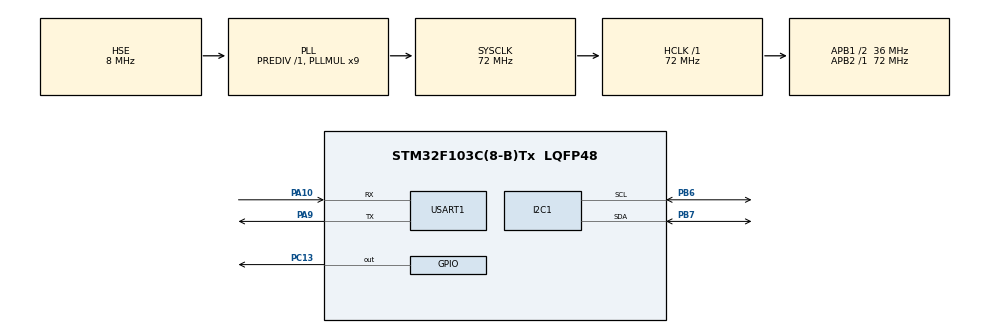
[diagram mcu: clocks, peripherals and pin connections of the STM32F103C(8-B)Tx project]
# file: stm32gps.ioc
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Dma.Request0=USART1_RX
Dma.USART1_RX.0.Direction=DMA_PERIPH_TO_MEMORY
Dma.USART1_RX.0.Instance=DMA1_Channel5
Dma.USART1_RX.0.MemDataAlignment=DMA_MDATAALIGN_BYTE
Dma.USART1_RX.0.MemInc=DMA_MINC_ENABLE
Dma.USART1_RX.0.Mode=DMA_NORMAL
Dma.USART1_RX.0.PeriphDataAlignment=DMA_PDATAALIGN_BYTE
Dma.USART1_RX.0.PeriphInc=DMA_PINC_DISABLE
Dma.USART1_RX.0.Priority=DMA_PRIORITY_LOW
I2C1.I2C_Mode=I2C_Standard
Mcu.Family=STM32F1
Mcu.Name=STM32F103C(8-B)Tx
Mcu.Package=LQFP48
NVIC.DMA1_Channel5_IRQn=true\:0\:0\:false\:false\:true\:false\:true\:true
NVIC.PriorityGroup=NVIC_PRIORITYGROUP_4
NVIC.USART1_IRQn=true\:0\:0\:false\:false\:true\:true\:true\:true
PA10.Mode=Asynchronous
PA10.Signal=USART1_RX
PA13.Mode=Serial_Wire
PA13.Signal=SYS_JTMS-SWDIO
PA14.Mode=Serial_Wire
PA14.Signal=SYS_JTCK-SWCLK
PA9.Mode=Asynchronous
PA9.Signal=USART1_TX
PB6.Mode=I2C
PB6.Signal=I2C1_SCL
PB7.Mode=I2C
PB7.Signal=I2C1_SDA
PC13-TAMPER-RTC.Signal=GPIO_Output
PD0-OSC_IN.Mode=HSE-External-Oscillator
PD0-OSC_IN.Signal=RCC_OSC_IN
PD1-OSC_OUT.Mode=HSE-External-Oscillator
PD1-OSC_OUT.Signal=RCC_OSC_OUT
ProjectManager.HeapSize=0x200
ProjectManager.StackSize=0x400
ProjectManager.TargetToolchain=CMake
RCC.AHBFreq_Value=72000000
RCC.APB1CLKDivider=RCC_HCLK_DIV2
RCC.APB1Freq_Value=36000000
RCC.APB1TimFreq_Value=72000000
RCC.APB2Freq_Value=72000000
RCC.APB2TimFreq_Value=72000000
RCC.HCLKFreq_Value=72000000
RCC.PLLMUL=RCC_PLL_MUL9
RCC.PLLSourceVirtual=RCC_PLLSOURCE_HSE
RCC.SYSCLKFreq_VALUE=72000000
RCC.SYSCLKSource=RCC_SYSCLKSOURCE_PLLCLK
RCC.USBFreq_Value=72000000
USART1.VirtualMode=VM_ASYNC
board=custom

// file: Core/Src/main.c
/* USER CODE BEGIN Header */
/**
  ******************************************************************************
  * @file           : main.c
  * @brief          : Main program body
  ******************************************************************************
  * @attention
  *
  * Copyright (c) 2025 STMicroelectronics.
  * All rights reserved.
  *
  * This software is licensed under terms that can be found in the LICENSE file
  * in the root directory of this software component.
  * If no LICENSE file comes with this software, it is provided AS-IS.
  *
  ******************************************************************************
  */
/* USER CODE END Header */
#include "main.h"
#include "dma.h"
#include "i2c.h"
#include "usart.h"
#include "gpio.h"

/* USER CODE BEGIN Includes */
#include "fonts.h"
#include "ssd1306.h"
#include "nmea_parser.h"
#include "usart.h"

#include <string.h>
#include <stdio.h>
#include <stdlib.h>
/* USER CODE END Includes */

/* USER CODE BEGIN PV */
char lat_str[64] = {0};
char lon_str[64] = {0};
/* USER CODE END PV */

void SystemClock_Config(void);
/* USER CODE BEGIN PFP */
void _show_sentence(nmea_gprmc_t *info);
/* USER CODE END PFP */

int main(void)
{

  /* MCU Configuration--------------------------------------------------------*/

  /* Reset of all peripherals, Initializes the Flash interface and the Systick. */
  HAL_Init();

  /* Configure the system clock */
  SystemClock_Config();

  /* Initialize all configured peripherals */
  MX_GPIO_Init();
  MX_DMA_Init();
  MX_I2C1_Init();
  MX_USART1_UART_Init();
  /* USER CODE BEGIN 2 */
  nmea_parser_t *parser = nmea_parser_init();
  parser->show_sentence = _show_sentence;

  SSD1306_Init();
  SSD1306_GotoXY(10, 10);
  SSD1306_Puts("HELLO", &Font_11x18, 1); // print Hello
  SSD1306_GotoXY (10, 30);
  SSD1306_Puts ("WORLD !!", &Font_11x18, 1);
  SSD1306_UpdateScreen();
  /* USER CODE END 2 */

  /* Infinite loop */
  while (1)
  {

    /* USER CODE BEGIN 3 */

    if (usart_rx_trnsfer_complete) {
      nmea_parser_parse(parser, (const char*)usart_rx_buffer, USART_RX_BUFFER_SIZE / 2);
      usart_rx_trnsfer_complete = 0;
    }

    if (usart_rx_half_transfer_complete) {
      nmea_parser_parse(parser, (const char*)usart_rx_buffer + (USART_RX_BUFFER_SIZE / 2), USART_RX_BUFFER_SIZE / 2);
      usart_rx_half_transfer_complete = 0;
    }

    HAL_GPIO_WritePin(GPIOC, GPIO_PIN_13, GPIO_PIN_SET);
    HAL_Delay(1000);
    HAL_GPIO_WritePin(GPIOC, GPIO_PIN_13, GPIO_PIN_RESET);
    HAL_Delay(1000);
  }
  /* USER CODE END 3 */
}

void SystemClock_Config(void)
{
  RCC_OscInitTypeDef RCC_OscInitStruct = {0};
  RCC_ClkInitTypeDef RCC_ClkInitStruct = {0};

  /** Initializes the RCC Oscillators according to the specified parameters
  * in the RCC_OscInitTypeDef structure.
  */
  RCC_OscInitStruct.OscillatorType = RCC_OSCILLATORTYPE_HSE;
  RCC_OscInitStruct.HSEState = RCC_HSE_ON;
  RCC_OscInitStruct.HSEPredivValue = RCC_HSE_PREDIV_DIV1;
  RCC_OscInitStruct.HSIState = RCC_HSI_ON;
  RCC_OscInitStruct.PLL.PLLState = RCC_PLL_ON;
  RCC_OscInitStruct.PLL.PLLSource = RCC_PLLSOURCE_HSE;
  RCC_OscInitStruct.PLL.PLLMUL = RCC_PLL_MUL9;
  if (HAL_RCC_OscConfig(&RCC_OscInitStruct) != HAL_OK)
  {
    Error_Handler();
  }

  /** Initializes the CPU, AHB and APB buses clocks
  */
  RCC_ClkInitStruct.ClockType = RCC_CLOCKTYPE_HCLK|RCC_CLOCKTYPE_SYSCLK
                              |RCC_CLOCKTYPE_PCLK1|RCC_CLOCKTYPE_PCLK2;
  RCC_ClkInitStruct.SYSCLKSource = RCC_SYSCLKSOURCE_PLLCLK;
  RCC_ClkInitStruct.AHBCLKDivider = RCC_SYSCLK_DIV1;
  RCC_ClkInitStruct.APB1CLKDivider = RCC_HCLK_DIV2;
  RCC_ClkInitStruct.APB2CLKDivider = RCC_HCLK_DIV1;

  if (HAL_RCC_ClockConfig(&RCC_ClkInitStruct, FLASH_LATENCY_2) != HAL_OK)
  {
    Error_Handler();
  }
}

/* USER CODE BEGIN 4 */
void _show_sentence(nmea_gprmc_t *info) {

  memset(lat_str, 0, 64);
  memset(lon_str, 0, 64);

  double lat = strtod(info->lat, NULL) / 100;
  double lon = strtod(info->lon, NULL) / 100;

  sprintf(lat_str, "%.6f%c", lat, info->uLat);
  sprintf(lon_str, "%.6f%c", lon, info->uLon);

  // clear screen
  SSD1306_Clear();
  SSD1306_GotoXY(5, 5);
  SSD1306_Puts("GNRMC", &Font_7x10, 1);
  SSD1306_GotoXY(5, 20);
  SSD1306_Puts(lat_str, &Font_7x10, 1);
  SSD1306_GotoXY(5, 35);
  SSD1306_Puts(lon_str, &Font_7x10, 1);
  SSD1306_UpdateScreen();
}
/* USER CODE END 4 */

void Error_Handler(void)
{
  __disable_irq();
  while (1)
  {
  }
}
